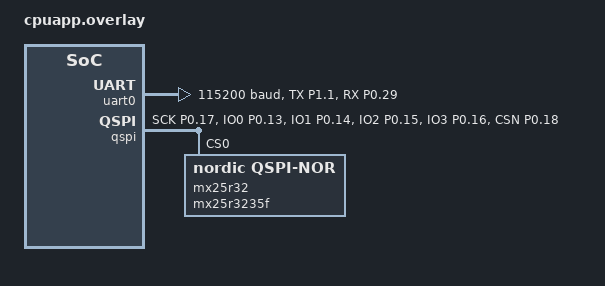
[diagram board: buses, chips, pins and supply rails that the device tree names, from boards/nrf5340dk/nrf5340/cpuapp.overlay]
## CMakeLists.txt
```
# Copyright (c) 2023 Culvert Engineering Inc
# SPDX-License-Identifier: Apache-2.0

cmake_minimum_required(VERSION 3.20.0)

set(DTC_OVERLAY_FILE ../boards/${BOARD}.overlay)

add_compile_options(-Werror)

get_filename_component(APPLICATION_PROJECT_DIR
    ${CMAKE_CURRENT_LIST_DIR}/..
    ABSOLUTE
)


list(APPEND BOARD_ROOT ${APPLICATION_PROJECT_DIR})
list(APPEND DTS_ROOT ${APPLICATION_PROJECT_DIR})
message(ADDING BOARD_ROOT="${BOARD_ROOT}")
message(ADDING DTS_ROOT="${DTS_ROOT}")



find_package(Zephyr REQUIRED HINTS $ENV{ZEPHYR_BASE})

project(chekr_app VERSION 1.1.8)
zephyr_library_include_directories(src/include)
target_sources(app PRIVATE src/main.c src/shell.c src/utils.c src/watchdog.c src/pmic_stub.c)
add_subdirectory(src/imu)
add_subdirectory(src/storage)
add_subdirectory(src/ble)
add_subdirectory(src/ml)
add_subdirectory(src/pmic)

add_definitions(-DAPP_VERSION_MAJOR_CMAKE=${PROJECT_VERSION_MAJOR})
add_definitions(-DAPP_VERSION_MINOR_CMAKE=${PROJECT_VERSION_MINOR})
add_definitions(-DAPP_VERSION_PATCH_CMAKE=${PROJECT_VERSION_PATCH})

# Get the current Git commit hash
execute_process(
  COMMAND git rev-parse --short=6 HEAD
  WORKING_DIRECTORY ${CMAKE_SOURCE_DIR}
  OUTPUT_VARIABLE GIT_HASH
  OUTPUT_STRIP_TRAILING_WHITESPACE
)

# Check if the repository is dirty
execute_process(
  COMMAND git status --porcelain
  WORKING_DIRECTORY ${CMAKE_SOURCE_DIR}
  OUTPUT_VARIABLE GIT_DIRTY_STATUS
  OUTPUT_STRIP_TRAILING_WHITESPACE
)

# Append '-dirty' to the version string if the repository is dirty
if(NOT GIT_DIRTY_STATUS STREQUAL "")
  set(GIT_HASH "${GIT_HASH}-dirty")
endif()

add_definitions(-DGIT_HASH_CMAKE=\"${GIT_HASH}\")

# Get the build machine name
execute_process(
  COMMAND hostname
  OUTPUT_VARIABLE BUILD_MACHINE
  OUTPUT_STRIP_TRAILING_WHITESPACE
)

# Get the build date
string(TIMESTAMP BUILD_DATE "%Y-%m-%d %H:%M:%S")

# Pass the variables to the code
add_definitions(-DBUILD_MACHINE_CMAKE=\"${BUILD_MACHINE}\")
add_definitions(-DBUILD_DATE_CMAKE=\"${BUILD_DATE}\")
```

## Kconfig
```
# Copyright (c) 2024 Culvert Engineering Inc
# SPDX-License-Identifier: LicenseRef-Proprietary
#
# This file is the application Kconfig entry point. All application Kconfig
# options can be defined here or included via other application Kconfig files.
# You can browse these options using the west targets menuconfig (terminal) or
# guiconfig (GUI).

menu "Zephyr"
source "Kconfig.zephyr"
endmenu

config RELEASE_BUILD
    bool "Production Release"
    help
      Set to true to disable various developer features and to enable additonal security
```

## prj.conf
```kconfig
# General
CONFIG_I2C=y
CONFIG_SHELL=y
CONFIG_LOG=y
CONFIG_LOG_MODE_IMMEDIATE=n
CONFIG_MAIN_STACK_SIZE=8192
CONFIG_SHELL_STACK_SIZE=8192
CONFIG_SYSTEM_WORKQUEUE_STACK_SIZE=8192
CONFIG_ENTROPY_GENERATOR=y
CONFIG_TEST_RANDOM_GENERATOR=y
CONFIG_HEAP_MEM_POOL_SIZE=16384
#CONFIG_SYS_HEAP_RUNTIME_STATS=y
CONFIG_NEWLIB_LIBC_FLOAT_PRINTF=y
CONFIG_WATCHDOG=y
CONFIG_POSIX_CLOCK=y

# IMU
CONFIG_SENSOR=y
CONFIG_LSM6DSV16X=y
CONFIG_LSM6DSV16X_TRIGGER_GLOBAL_THREAD=n
CONFIG_LSM6DSV16X_TRIGGER_OWN_THREAD=y
CONFIG_LSM6DSV16X_THREAD_STACK_SIZE=4096

## NPM1300
CONFIG_LED=y
CONFIG_REGULATOR=y
CONFIG_REGULATOR_NPM1300=y
CONFIG_REGULATOR=y
CONFIG_REGULATOR_NPM1300=y
CONFIG_LED_NPM1300=y
CONFIG_GPIO_NPM1300=y
CONFIG_NPM1300_CHARGER=y
CONFIG_NRF_FUEL_GAUGE=y
CONFIG_MFD_NPM1300=y

# Flash
CONFIG_FLASH=y
CONFIG_FLASH_PAGE_LAYOUT=y
CONFIG_FLASH_SHELL_TEST_COMMANDS=y
CONFIG_FLASH_MAP=y
CONFIG_FLASH_MAP_SHELL=y
CONFIG_FLASH_MAP_LABELS=y
CONFIG_NORDIC_QSPI_NOR=y
CONFIG_MPU_ALLOW_FLASH_WRITE=y

# Filesystem
CONFIG_FILE_SYSTEM=y
CONFIG_FILE_SYSTEM_LITTLEFS=y
CONFIG_FILE_SYSTEM_SHELL=y
CONFIG_FILE_SYSTEM_SHELL_TEST_COMMANDS=y
# use 3MB of external flash for file system (other 1MB is for DFU slot)
CONFIG_PM_PARTITION_SIZE_LITTLEFS=0x300000
CONFIG_PM_PARTITION_REGION_LITTLEFS_EXTERNAL=y

# BLE
CONFIG_BT=y
CONFIG_BT_PERIPHERAL=y
CONFIG_BT_BAS=y
CONFIG_BT_DEVICE_NAME_DYNAMIC=y
CONFIG_BT_RX_STACK_SIZE=4096
# 4s supervisory timeout, max recommended if iOS
CONFIG_BT_PERIPHERAL_PREF_TIMEOUT=400

# MCUBoot
CONFIG_BOOTLOADER_MCUBOOT=y
CONFIG_MCUBOOT_GENERATE_UNSIGNED_IMAGE=y
CONFIG_MCUBOOT_GENERATE_CONFIRMED_IMAGE=y

# NOTE: we put DFU secondary slot in QSPI flash to save code space for app
CONFIG_PM_EXTERNAL_FLASH_MCUBOOT_SECONDARY=y
CONFIG_ADD_MCUBOOT_MEDIATE_SIM_FLASH_DTS=n

# DFU - this enables all required SMP handlers and SMP BT reassembly feature
CONFIG_NCS_SAMPLE_MCUMGR_BT_OTA_DFU=y

# Network core upgrades
CONFIG_NRF53_UPGRADE_NETWORK_CORE=y
CONFIG_DFU_MULTI_IMAGE_PACKAGE_BUILD=y
CONFIG_DFU_MULTI_IMAGE_PACKAGE_NET=y

# enable c++ support for ML library
CONFIG_CPLUSPLUS=y
CONFIG_LIB_CPLUSPLUS=y
CONFIG_NEWLIB_LIBC=y
CONFIG_FPU=y
```

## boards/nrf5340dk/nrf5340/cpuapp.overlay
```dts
/*
 * Copyright (c) 2023 Culvert, Inc
 *
 * SPDX-License-Identifier: LicenseRef-BSD-5-Clause-Nordic
 *
 * This is required to get MCUBoot console working on D1
 */

 / {
	aliases {
		spi-flash0 = &mx25r32;
	};
};
&pinctrl {
	custom_default: c {
		group1 {
			psels = <NRF_PSEL(UART_TX, 1, 1)>;
		};
		group2 {
			psels = <NRF_PSEL(UART_RX, 0, 29)>;
			bias-pull-up;
		};	
	};
	custom_sleep: custom_sleep {
		group1 {
			psels = <NRF_PSEL(UART_TX, 1, 1)>,
				<NRF_PSEL(UART_RX, 0, 29)>;
			low-power-enable;
		};
	};
	qspi_default: qspi_default {
		group1 {
			psels = <NRF_PSEL(QSPI_SCK, 0, 17)>,
				<NRF_PSEL(QSPI_IO0, 0, 13)>,
				<NRF_PSEL(QSPI_IO1, 0, 14)>,
				<NRF_PSEL(QSPI_IO2, 0, 15)>,
				<NRF_PSEL(QSPI_IO3, 0, 16)>,
				<NRF_PSEL(QSPI_CSN, 0, 18)>;
			nordic,drive-mode = <NRF_DRIVE_H0H1>;
		};
	};
	qspi_sleep: qspi_sleep {
		group1 {
			psels = <NRF_PSEL(QSPI_SCK, 0, 17)>,
				<NRF_PSEL(QSPI_IO0, 0, 13)>,
				<NRF_PSEL(QSPI_IO1, 0, 14)>,
				<NRF_PSEL(QSPI_IO2, 0, 15)>,
				<NRF_PSEL(QSPI_IO3, 0, 16)>;
			low-power-enable;
		};
		group2 {
			psels = <NRF_PSEL(QSPI_CSN, 0, 18)>;
			low-power-enable;
			bias-pull-up;
		};
	};

};

&uart0 {
	status = "okay";
	current-speed = <115200>;
	pinctrl-0 = <&custom_default>;
	pinctrl-1 = <&custom_sleep>;
	pinctrl-names = "default", "sleep";
};

&qspi {
	status = "okay";
	pinctrl-0 = <&qspi_default>;
	pinctrl-1 = <&qspi_sleep>;
	pinctrl-names = "default", "sleep";
	mx25r32: mx25r3235f@0 {
		compatible = "nordic,qspi-nor";
		reg = <0>;
		/* MX25R32 supports only pp and pp4io */
		writeoc = "pp4io";
		/* MX25R32 supports all readoc options */
		readoc = "read4io";
		sck-frequency = <8000000>;
		jedec-id = [c2 28 16];
		sfdp-bfp = [
			e5 20 f1 ff  ff ff ff 03  44 eb 08 6b  08 3b 04 bb
			ee ff ff ff  ff ff 00 ff  ff ff 00 ff  0c 20 0f 52
			10 d8 00 ff  23 72 f5 00  82 ed 04 cc  44 83 68 44
			30 b0 30 b0  f7 c4 d5 5c  00 be 29 ff  f0 d0 ff ff
		];
		size = <33554432>;
		has-dpd;
		t-enter-dpd = <10000>;
		t-exit-dpd = <35000>;
	};
};


&mx25r64 {
	status = "disabled";
};

/ {
	chosen {
			nordic,pm-ext-flash = &mx25r32;
	};
};
```

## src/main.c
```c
/*
 * Copyright (c) 2023 Culvert Engineering Inc
 *
 * SPDX-License-Identifier: Apache-2.0
 */

#include <zephyr/kernel.h>
#include <zephyr/logging/log.h>

#include <zephyr/dfu/mcuboot.h>

#include "app_version.h"
#include "ble.h"
#include "imu.h"
#include "ml.h"
#include "pmic.h"
#include "storage.h"
#include "utils.h"
#include "watchdog.h"

LOG_MODULE_REGISTER(main, LOG_LEVEL_DBG);

int main(void)
{
	LOG_INF("Staring chekr-app Version %d.%d.%d (%s) \r\nBoard: %s", APP_VERSION_MAJOR,
		APP_VERSION_MINOR, APP_VERSION_PATCH, GIT_HASH, CONFIG_BOARD);

	// we don't use these for chekr app, so turn them off to save power
	util_enable_dialog(false);
	util_enable_9160(false);

	imu_init();
	ml_init();
	storage_init();
	ble_init();
	watchdog_init();

	/*
	   mark the currently running firmware image as OK,
	   which will install it permanently after an OTA
	 */
	boot_write_img_confirmed();

	while (1) {
		k_sleep(K_MSEC(1000));
		watchdog_feed();
	}
	return 0;
}
```

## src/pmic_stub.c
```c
/*
 * Copyright (c) 2023 Culvert Engineering Inc
 *
 * SPDX-License-Identifier: Apache-2.0
 */

#include <zephyr/device.h>
#include <zephyr/logging/log.h>
#include <zephyr/drivers/led.h>
#include <zephyr/drivers/sensor/npm1300_charger.h>
#include <zephyr/dt-bindings/regulator/npm1300.h>
#include <zephyr/shell/shell.h>

#include "pmic_stub.h"

LOG_MODULE_REGISTER(pmic_stub, LOG_LEVEL_DBG);

#define BLIP_ON_MS (50)
static void blip_timer_handler(struct k_timer *timer_id);
static void blip_work_handler(struct k_work *work);
K_TIMER_DEFINE(blip_timer, blip_timer_handler, NULL);
K_WORK_DEFINE(blip_work, blip_work_handler);

typedef struct {
	uint16_t percent;
	uint16_t mV;
} battery_voltage_pct_t;

// TODO: get real values
#define BATTERY_EMPTY_MILLIVOLTS (3000)
#define BATTERY_FULL_MILLIVOLTS  (4350)
const battery_voltage_pct_t m_battery_table[] = {
	{0, BATTERY_EMPTY_MILLIVOLTS},
	{10, 3150},
	{20, 3300},
	{30, 3450},
	{40, 3600},
	{50, 3750},
	{60, 3900},
	{70, 4000},
	{80, 4100},
	{90, 4200},
	{100, BATTERY_FULL_MILLIVOLTS},
};

static int blue_led = 2; // led number 2
static const struct device *charger = DEVICE_DT_GET(DT_NODELABEL(npm1300_ek_charger));
static const struct device *rgbleds = DEVICE_DT_GET(DT_NODELABEL(npm1300_ek_leds));

void read_charger_sensors_stub(const struct shell *sh, size_t argc, char **argv)
{
	struct sensor_value volt;
	struct sensor_value current;
	struct sensor_value temp;
	struct sensor_value error;
	struct sensor_value status;

	sensor_sample_fetch(charger);
	sensor_channel_get(charger, SENSOR_CHAN_GAUGE_VOLTAGE, &volt);
	sensor_channel_get(charger, SENSOR_CHAN_GAUGE_AVG_CURRENT, &current);
	sensor_channel_get(charger, SENSOR_CHAN_GAUGE_TEMP, &temp);
	sensor_channel_get(charger, SENSOR_CHAN_NPM1300_CHARGER_STATUS, &status);
	sensor_channel_get(charger, SENSOR_CHAN_NPM1300_CHARGER_ERROR, &error);

	shell_fprintf(sh, SHELL_NORMAL, "V: %d.%03d ", volt.val1, volt.val2 / 1000);
	shell_fprintf(sh, SHELL_NORMAL, "I: %s%d.%04d ",
		      ((current.val1 < 0) || (current.val2 < 0)) ? "-" : "", abs(current.val1),
		      abs(current.val2) / 100);
	shell_fprintf(sh, SHELL_NORMAL, "T: %d.%02d\n", temp.val1, temp.val2 / 10000);
	shell_fprintf(sh, SHELL_NORMAL, "Charger Status: %d, Error: %d\n", status.val1, error.val1);
}

int pmic_toggle_blue_led(void)
{
	static bool on;
	if (!device_is_ready(rgbleds)) {
		LOG_ERR("PMIC LED device not ready.\n");
		return -1;
	}

	on = !on;
	on ? led_on(rgbleds, blue_led) : led_off(rgbleds, blue_led);

	return 0;
}

void blip_work_handler(struct k_work *work)
{
	led_off(rgbleds, blue_led);
}

static void blip_timer_handler(struct k_timer *timer_id)
{
	k_work_submit(&blip_work);
}

// blip it on for BLIP_ON_MS
int pmic_blip_blue_led(void)
{
	if (!device_is_ready(rgbleds)) {
		LOG_ERR("PMIC LED device not ready");
		return -1;
	}

	led_on(rgbleds, blue_led);
	k_timer_start(&blip_timer, K_MSEC(BLIP_ON_MS), K_NO_WAIT);
	return 0;
}

int pmic_blue_led_off(void)
{
	led_off(rgbleds, blue_led);
	return 0;
}

static uint8_t get_battery_pct(uint16_t battery_mv)
{
	for (int i = 0; i < (int)(sizeof(m_battery_table) / sizeof(battery_voltage_pct_t)); i++) {
		battery_voltage_pct_t upper_range = m_battery_table[i];
		if (battery_mv <= upper_range.mV) {
			return upper_range.percent;
		}
	}
	/*voltage is larger than max we defined, it must be 100% */
	return 100;
}

int pmic_get_info(pmic_get_info_t *info)
{
	struct sensor_value volt;
	struct sensor_value current;
	struct sensor_value temp;
	struct sensor_value charge;

	sensor_sample_fetch(charger);
	sensor_channel_get(charger, SENSOR_CHAN_GAUGE_VOLTAGE, &volt);
	sensor_channel_get(charger, SENSOR_CHAN_GAUGE_AVG_CURRENT, &current);
	sensor_channel_get(charger, SENSOR_CHAN_GAUGE_TEMP, &temp);
	sensor_channel_get(charger, SENSOR_CHAN_GAUGE_STATE_OF_CHARGE, &charge);

	info->charging_a = sensor_value_to_double(&current);
	info->battery_v = sensor_value_to_double(&volt);

	// TODO: use fuel guage for battery %, it doesn't seem to be returning valid %
	// float battery_pct = sensor_value_to_double(&charge);
	// LOG_DBG("battery_pct: %f", battery_pct);
	uint16_t battery_mv = info->battery_v * 1000;
	uint8_t battery_pct = get_battery_pct(battery_mv);
	info->battery_pct = (int8_t)battery_pct;

	info->temperature = sensor_value_to_double(&temp);

	return 0;
}

SHELL_CMD_REGISTER(show_batt_info, NULL, "battery Info", read_charger_sensors_stub);
```

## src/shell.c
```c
#include <zephyr/logging/log_ctrl.h>
#include <zephyr/logging/log.h>
#include <zephyr/shell/shell.h>
#include <zephyr/random/rand32.h>
#include <stdlib.h>
#include <stdio.h>

#include "chekr.h"
#include "imu.h"
#include "storage.h"
#include "utils.h"
#include "app_version.h"

LOG_MODULE_REGISTER(shell, LOG_LEVEL_DBG);

static int version(const struct shell *sh, size_t argc, char **argv)
{
	shell_fprintf(sh, SHELL_NORMAL, "chekr_app version %d.%d.%d (%s)\r\n", APP_VERSION_MAJOR,
		      APP_VERSION_MINOR, APP_VERSION_PATCH, GIT_HASH);

	shell_fprintf(sh, SHELL_NORMAL, "Built on %s by %s\r\n", DBUILD_DATE, DBUILD_MACHINE);
	return 0;
}

static int write_samples(const struct shell *sh, size_t argc, char **argv)
{
	uint16_t iterations = strtoul(argv[1], NULL, 10);
	uint16_t freq = strtoul(argv[2], NULL, 10);
	uint16_t seconds = strtoul(argv[3], NULL, 10);

	if (argc < 4 || seconds == 0) {
		shell_fprintf(sh, SHELL_NORMAL,
			      "usage: write_samples <iterations> <freq> <seconds>\r\n");
		return -1;
	}

	// random session number
	uint32_t rand = sys_rand32_get();

	for (int i = 0; i < iterations; i++) {
		char filename[32] = {0};
		sprintf(filename, "run_%u-%d", rand, i);
		LOG_DBG("writing file: %s", filename);
		file_handle_t handle = storage_open_file(filename);
		if (handle == NULL) {
			LOG_ERR("failed to open file %s", filename);
			return -1;
		}

		chekr_set_filehandle(handle);

		LOG_INF("writing IMU samples at %d Hz for %d seconds to file: %s...", freq, seconds,
			filename);
		LOG_PANIC(); // flush

		int ret = imu_enable(freq, chekr_record_samples);
		if (ret) {
			LOG_ERR("failed to enable IMU");
			storage_close_file(handle);
			return -1;
		}

		k_sleep(K_SECONDS(seconds));
		imu_enable(IMU_ODR_0_HZ, NULL);

		storage_close_file(handle);

		int count = imu_get_trigger_count();

		LOG_INF("complete, wrote %d samples, avg=%.2f/s", count,
			(float)count / (float)seconds);
	}
	return 0;
}

// callback for print_samples, called on every imu trigger
int print_samples_cb(imu_sample_t data)
{
	LOG_INF("%08llu,%f,%f,%f,%f,%f,%f", data.timestamp, data.ax, data.ay, data.az, data.gx,
		data.gy, data.gz);

	return 0;
}

static int print_samples(const struct shell *sh, size_t argc, char **argv)
{
	uint16_t freq = strtoul(argv[1], NULL, 10);
	uint16_t seconds = strtoul(argv[2], NULL, 10);

	if (argc < 3 || seconds == 0) {
		shell_fprintf(sh, SHELL_NORMAL, "usage: print_samples <freq> <seconds>\r\n");
		return -1;
	}

	LOG_INF("printing IMU samples at %d Hz for %d seconds...", freq, seconds);
	LOG_PANIC(); // flush

	int ret = imu_enable(freq, print_samples_cb);
	if (ret) {
		LOG_ERR("failed to enable IMU");
		return -1;
	}

	k_sleep(K_SECONDS(seconds));
	imu_enable(IMU_ODR_0_HZ, NULL);

	int count = imu_get_trigger_count();

	LOG_INF("complete, printed %d samples, avg=%.2f/s", count, (float)count / (float)seconds);
	return 0;
}

SHELL_CMD_REGISTER(version, NULL, "app version", version);
SHELL_CMD_REGISTER(write_samples, NULL, "usage: write_samples <iterations> <freq> <seconds>",
		   write_samples);
SHELL_CMD_REGISTER(print_samples, NULL, "usage: print_samples <freq> <seconds>", print_samples);
```

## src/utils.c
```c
#include <stdint.h>
#include <stdbool.h>
#include <zephyr/device.h>
#include <zephyr/drivers/gpio.h>
#include <zephyr/logging/log.h>
#include <zephyr/posix/time.h>
#include <zephyr/sys/byteorder.h>

#include "pmic.h"
#include "utils.h"

#define EN_3V0_PIN (4)
static const struct device *gpio1 = DEVICE_DT_GET(DT_NODELABEL(gpio1));

#define POLYNOMIAL    0xA001
#define INITIAL_VALUE 0xFFFF

LOG_MODULE_REGISTER(utils, LOG_LEVEL_DBG);

uint16_t utils_crc16_modbus(const uint8_t *data, uint16_t length)
{
	uint16_t crc = INITIAL_VALUE;
	uint16_t i, j;

	for (i = 0; i < length; i++) {
		crc ^= data[i];
		for (j = 0; j < 8; j++) {
			bool lsb = crc & 1;
			crc >>= 1;
			if (lsb) {
				crc ^= POLYNOMIAL;
			}
		}
	}

	// crc is always big endian
	crc = sys_cpu_to_be16(crc);
	return crc;
}

uint64_t utils_get_currentmillis(void)
{
	struct timespec ts;
	clock_gettime(CLOCK_REALTIME, &ts);

	uint64_t t = (ts.tv_sec) * 1000 + ts.tv_nsec / 1000000;
	return t;
}

uint64_t utils_get_currentmicros(void)
{
	struct timespec ts;
	clock_gettime(CLOCK_REALTIME, &ts);

	uint64_t t = (ts.tv_sec) * 1000 + ts.tv_nsec / 1000;
	return t;
}

int util_enable_dialog(bool enable)
{
	uint32_t output_state = GPIO_OUTPUT_INACTIVE;
	bool power_state = false;

	if (enable) {
		output_state = GPIO_OUTPUT_ACTIVE;
		power_state = true;
	}



	// 3V rail control
	int ret = gpio_pin_configure(gpio1, EN_3V0_PIN, output_state);
	if (ret != 0) {
		LOG_ERR("Error: failed to set EN_3V0_PIN to %d", output_state);
		return ret;
	} else {
		LOG_DBG("Configured 3V output to 0x%04x", output_state);
	}

	// level shifter and the digital logic line
	set_switch_state(PMIC_SWITCH_WIFI, power_state);
	LOG_DBG("set PMIC DA power to %d", power_state);
	return 0;
}

int util_enable_9160(bool enable)
{
	bool power_state = false;
	if (enable) {
		power_state = true;
	}

	set_switch_state(PMIC_SWITCH_VSYS, power_state);
	LOG_DBG("set PMIC 9160 power to %d", power_state);
	return 0;
}
```

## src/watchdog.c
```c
/*
 * Copyright (c) 2023 Culvert Engineering
 *
 * SPDX-License-Identifier: Unlicensed
 */

#include <zephyr/drivers/watchdog.h>
#include <zephyr/logging/log.h>
#include <zephyr/shell/shell.h>

#include "watchdog.h"

LOG_MODULE_REGISTER(watchdog, LOG_LEVEL_DBG);

#define WATCHDOG_TIMEOUT_SEC (5)

struct wdt_data_storage {
	const struct device *wdt_drv;
	int wdt_channel_id;
};

static struct wdt_data_storage wdt_data;
static bool force_wdt;

void wdt_callback(const struct device *dev, int channel_id)
{
	// TODO: we have a few uS before we reboot, add any handling here if desired
}

static int watchdog_timeout_install(struct wdt_data_storage *data)
{
	static const struct wdt_timeout_cfg wdt_settings = {
		.window =
			{
				.min = 0,
				.max = WATCHDOG_TIMEOUT_SEC * 1000,
			},
		.callback = wdt_callback,
		.flags = WDT_FLAG_RESET_SOC};

	data->wdt_channel_id = wdt_install_timeout(data->wdt_drv, &wdt_settings);
	if (data->wdt_channel_id < 0) {
		LOG_ERR("Cannot install watchdog timer! Error code: %d", data->wdt_channel_id);
		return -EFAULT;
	}

	LOG_INF("Watchdog timeout installed. Timeout: %d s", WATCHDOG_TIMEOUT_SEC);
	return 0;
}

static int watchdog_start(struct wdt_data_storage *data)
{
	int err = wdt_setup(data->wdt_drv, WDT_OPT_PAUSE_HALTED_BY_DBG);

	if (err) {
		LOG_ERR("Cannot start watchdog! Error code: %d", err);
	} else {
		LOG_INF("Watchdog started");
	}
	return err;
}

int watchdog_init(void)
{
	int err = -ENXIO;

	wdt_data.wdt_drv = DEVICE_DT_GET(DT_NODELABEL(wdt));

	if (wdt_data.wdt_drv == NULL) {
		LOG_ERR("Cannot bind watchdog driver");
		return err;
	}

	err = watchdog_timeout_install(&wdt_data);
	if (err) {
		return err;
	}

	err = watchdog_start(&wdt_data);
	if (err) {
		return err;
	}

	return 0;
}

void watchdog_feed(void)
{
	if (force_wdt) {
		LOG_INF("watchdog_force ofen");
		return; // strictly for testing WDT
		
	}

	int err = wdt_feed(wdt_data.wdt_drv, wdt_data.wdt_channel_id);

	if (err) {
		LOG_ERR("Cannot feed watchdog. Error code: %d", err);
	}
}

void watchdog_force(void)
{
	force_wdt = true;
}

static int watchdog_force_shell(const struct shell *sh, size_t argc, char **argv)
{
	force_wdt = true;
	shell_fprintf(sh, SHELL_NORMAL,
		      "disabled watchdog petting, should reboot in %d seconds\r\n",
		      WATCHDOG_TIMEOUT_SEC);
	return 0;
}

SHELL_CMD_REGISTER(watchdog_force, NULL, "force watchdog to fire", watchdog_force_shell);
```
